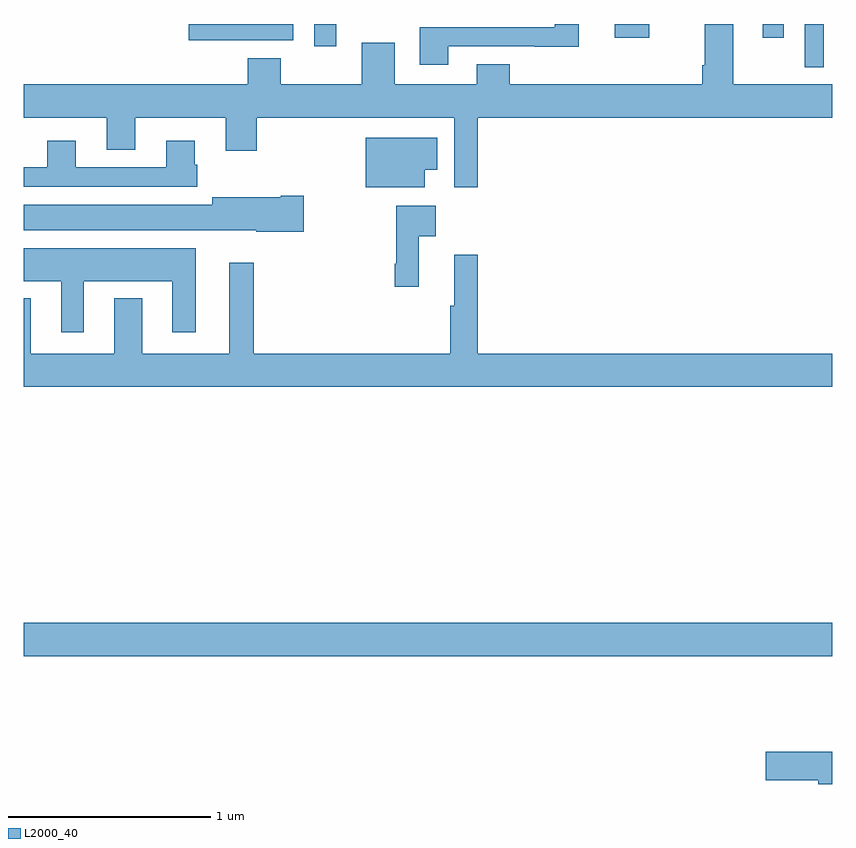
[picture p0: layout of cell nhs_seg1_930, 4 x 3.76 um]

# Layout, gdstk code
import gdstk
lib = gdstk.Library(unit=1e-6, precision=1e-09)
def R(c, l, rs):  # rectangles x0, y0, x1, y1
    for r in rs: c.add(gdstk.rectangle(r[:2], r[2:], *l))
def P(c, l, *ps):  # polygons
    for p in ps: c.add(gdstk.Polygon(p, *l))
L2000_40 = (2000, 40)

nhs_seg1_930 = lib.new_cell('nhs_seg1_930')
R(nhs_seg1_930, L2000_40, [(161,545.072,165,545.236), (164.865,547.985,164.958,548.199), (162.437,548.088,162.546,548.199), (161.817,548.118,162.333,548.199), (163.923,548.13,164.095,548.199), (164.657,548.13,164.761,548.199)])
P(nhs_seg1_930, L2000_40, [(163.099,548.088),(163.529,548.088),(163.529,548.087),(163.747,548.087),(163.747,548.199),(163.626,548.199),(163.626,548.184),(162.959,548.184),(162.959,547.998),(163.099,547.998)],
  [(163.247,547.736),(165,547.736),(165,547.9),(164.509,547.9),(164.509,548.199),(164.369,548.199),(164.369,547.996),(164.357,547.996),(164.357,547.9),(163.405,547.9),(163.405,547.999),(163.241,547.999),(163.241,547.9),(162.835,547.9),(162.835,548.107),(162.671,548.107),(162.671,547.9),(162.271,547.9),(162.271,548.029),(162.107,548.029),(162.107,547.9),(161,547.9),(161,547.736),(161.411,547.736),(161.411,547.576),(161.551,547.576),(161.551,547.736),(161.999,547.736),(161.999,547.572),(162.152,547.572),(162.152,547.736),(163.131,547.736),(163.131,547.392),(163.247,547.392)],
  [(162.985,547.478),(163.046,547.478),(163.046,547.636),(162.692,547.636),(162.692,547.391),(162.985,547.391)],
  [(161.858,547.503),(161.845,547.503),(161.845,547.621),(161.705,547.621),(161.705,547.491),(161.257,547.491),(161.257,547.621),(161.117,547.621),(161.117,547.491),(161,547.491),(161,547.395),(161.858,547.395)],
  [(162.385,547.35),(162.272,547.35),(162.272,547.342),(161.933,547.342),(161.933,547.306),(161,547.306),(161,547.178),(162.15,547.178),(162.15,547.172),(162.385,547.172)],
  [(162.953,547.148),(163.039,547.148),(163.039,547.3),(162.843,547.3),(162.843,547.012),(162.835,547.012),(162.835,546.9),(162.953,546.9)],
  [(161.296,546.926),(161.735,546.926),(161.735,546.675),(161.851,546.675),(161.851,547.09),(161,547.09),(161,546.926),(161.186,546.926),(161.186,546.675),(161.296,546.675)],
  [(165,546.568),(163.247,546.568),(163.247,547.057),(163.13,547.057),(163.13,546.804),(163.111,546.804),(163.111,546.568),(162.139,546.568),(162.139,547.018),(162.017,547.018),(162.017,546.568),(161.587,546.568),(161.587,546.841),(161.447,546.841),(161.447,546.568),(161.035,546.568),(161.035,546.841),(161,546.841),(161,546.404),(165,546.404)],
  [(165,544.599),(164.67,544.599),(164.67,544.457),(164.93,544.457),(164.93,544.439),(165,544.439)])

lib.write_gds('nhs_seg1_930.gds')
